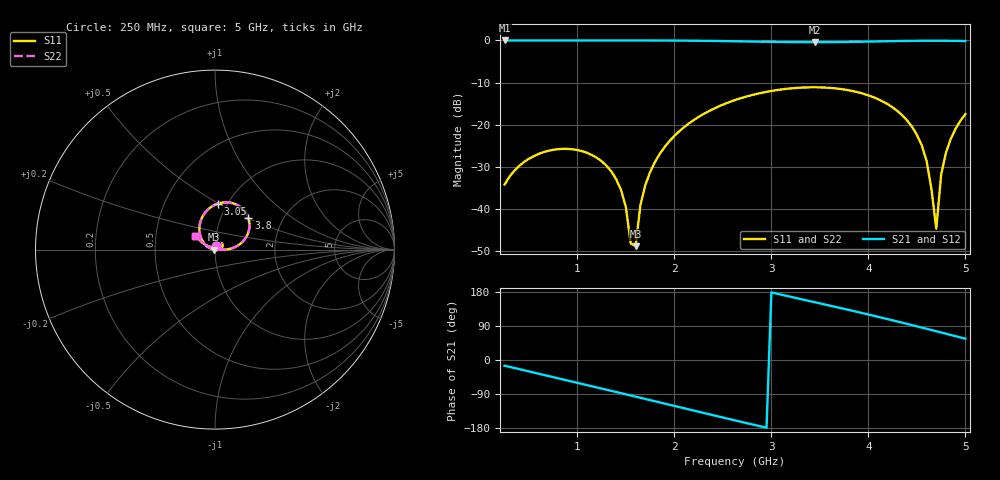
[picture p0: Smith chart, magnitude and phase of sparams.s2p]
! NobuRF kit-ex37-line12: ports 1 "p1", 2 "p2"; 2800 + 2800 steps
# GHz S RI R 50
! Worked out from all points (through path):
!   96 points, 250 MHz to 5 GHz, reference 50 ohm
!   highest |S21| = 0.00 dB at 250 MHz (marker M1); lowest = -0.4 dB at 3.45 GHz (marker M2)
!   group delay of S21, straight-line fit = 167 ps
!   lowest |S11| = -48.9 dB at 1.6 GHz (marker M3), VSWR 1.01, Z = 49.6 - j0.0632 ohm
!   |S11| at or under -10 dB: start of sweep to end of sweep
!   |S22| runs from -48.9 to -11.1 dB; largest |S21 - S12| = 9.2e-08
!   S11 on the Smith chart (normalised r, x): 250 MHz: 1.01, +0.04; 3.05 GHz: 0.90, +0.49; 3.8 GHz: 1.35, +0.50; 5 GHz: 0.80, +0.12
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0.25  0.003 0.0192  0.9655 -0.2601  0.9655 -0.2601  0.003 0.0192
0.6  0.0252 0.037  0.8064 -0.59  0.8064 -0.59  0.0252 0.037
1.05  0.0432 0.0216  0.4485 -0.8925  0.4485 -0.8925  0.0432 0.0216
1.4  0.0224 0.00116  0.0958 -0.9947  0.0958 -0.9947  0.0224 0.00116
1.5  0.0104 -0.00118  -0.01 -0.9993  -0.01 -0.9993  0.0104 -0.00118
1.55  0.00364 -0.0013  -0.0631 -0.9974  -0.0631 -0.9974  0.00364 -0.0013
1.6  -0.00353 -0.000636  -0.116 -0.9926  -0.116 -0.9926  -0.00353 -0.000637
1.65  -0.011 0.000884  -0.1687 -0.9849  -0.1687 -0.9849  -0.011 0.000884
1.7  -0.0187 0.00331  -0.2209 -0.9743  -0.2209 -0.9743  -0.0187 0.00331
1.85  -0.0419 0.0163  -0.3733 -0.9258  -0.3733 -0.9258  -0.0419 0.0163
2.2  -0.0822 0.078  -0.6825 -0.7206  -0.6825 -0.7206  -0.0822 0.078
2.65  -0.0671 0.1884  -0.9228 -0.3207  -0.9228 -0.3207  -0.0671 0.1884
3.05  0.0156 0.256  -0.9578 0.0764  -0.9578 0.0764  0.0156 0.256
3.45  0.1235 0.2485  -0.8444 0.4437  -0.8444 0.4437  0.1235 0.2485
3.8  0.1866 0.1745  -0.6421 0.7149  -0.6421 0.7149  0.1866 0.1745
4.25  0.1539 0.0441  -0.2482 0.9495  -0.2482 0.9495  0.1539 0.0441
4.55  0.0567 -0.000392  0.0765 0.9885  0.0765 0.9885  0.0567 -0.000392
4.6  0.0371 -0.000893  0.1323 0.9833  0.1323 0.9833  0.0371 -0.000893
4.7  -0.00289 0.00502  0.2429 0.9623  0.2429 0.9623  -0.00289 0.00502
4.75  -0.0227 0.0115  0.2973 0.9465  0.2973 0.9465  -0.0227 0.0115
4.8  -0.042 0.0203  0.3505 0.9273  0.3505 0.9273  -0.042 0.0203
5  -0.1087 0.0772  0.5474 0.8174  0.5474 0.8174  -0.1087 0.0772
